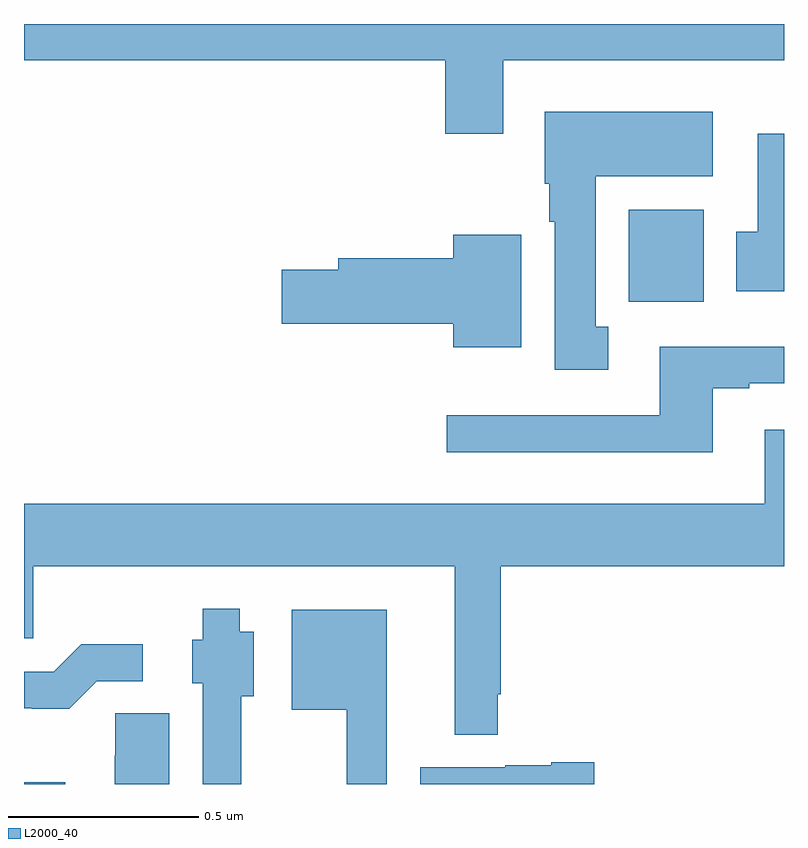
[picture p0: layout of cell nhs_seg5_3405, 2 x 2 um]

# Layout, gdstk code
import gdstk
lib = gdstk.Library(unit=1e-6, precision=1e-09)
def R(c, l, rs):  # rectangles x0, y0, x1, y1
    for r in rs: c.add(gdstk.rectangle(r[:2], r[2:], *l))
def P(c, l, *ps):  # polygons
    for p in ps: c.add(gdstk.Polygon(p, *l))
L2000_40 = (2000, 40)

nhs_seg5_3405 = lib.new_cell('nhs_seg5_3405')
R(nhs_seg5_3405, L2000_40, [(156,910.799,156.109,910.804), (157.592,912.068,157.789,912.31)])
P(nhs_seg5_3405, L2000_40, [(157.261,912.704),(158,912.704),(158,912.799),(156,912.799),(156,912.704),(157.109,912.704),(157.109,912.51),(157.261,912.51)],
  [(157.537,912.002),(157.504,912.002),(157.504,912.398),(157.813,912.398),(157.813,912.568),(157.37,912.568),(157.37,912.378),(157.382,912.378),(157.382,912.278),(157.397,912.278),(157.397,911.889),(157.537,911.889)],
  [(158,912.51),(157.931,912.51),(157.931,912.252),(157.874,912.252),(157.874,912.096),(158,912.096)],
  [(157.309,912.244),(157.13,912.244),(157.13,912.182),(156.827,912.182),(156.827,912.152),(156.678,912.152),(156.678,912.01),(157.13,912.01),(157.13,911.948),(157.309,911.948)],
  [(157.813,911.841),(157.909,911.841),(157.909,911.853),(158,911.853),(158,911.95),(157.673,911.95),(157.673,911.769),(157.113,911.769),(157.113,911.672),(157.813,911.672)],
  [(157.247,911.035),(157.255,911.035),(157.255,911.372),(158,911.372),(158,911.731),(157.949,911.731),(157.949,911.536),(156,911.536),(156,911.182),(156.024,911.182),(156.024,911.372),(157.133,911.372),(157.133,910.928),(157.247,910.928)],
  [(156.572,911.03),(156.604,911.03),(156.604,911.2),(156.568,911.2),(156.568,911.26),(156.47,911.26),(156.47,911.178),(156.443,911.178),(156.443,911.064),(156.471,911.064),(156.471,910.799),(156.572,910.799)],
  [(156.955,911.257),(156.704,911.257),(156.704,910.994),(156.849,910.994),(156.849,910.799),(156.955,910.799)],
  [(156.192,911.07),(156.313,911.07),(156.313,911.167),(156.151,911.167),(156.078,911.094),(156,911.094),(156,910.998),(156.02,910.998),(156.02,910.997),(156.119,910.997)],
  [(156.382,910.985),(156.24,910.985),(156.24,910.874),(156.239,910.874),(156.239,910.799),(156.382,910.799)],
  [(157.501,910.856),(157.388,910.856),(157.388,910.849),(157.266,910.849),(157.266,910.843),(157.043,910.843),(157.043,910.799),(157.501,910.799)])

lib.write_gds('nhs_seg5_3405.gds')
